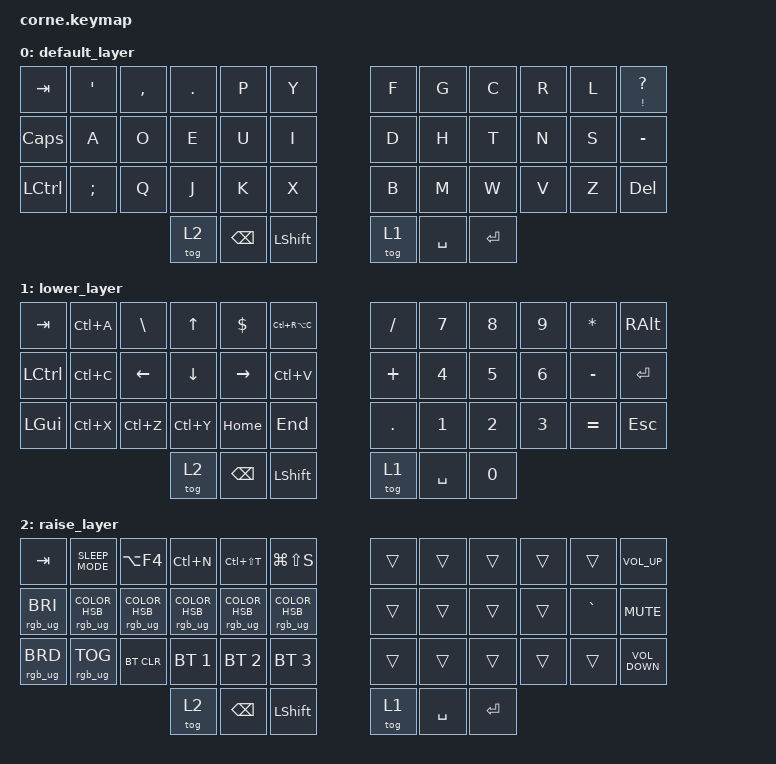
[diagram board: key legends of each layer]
/*
 * Copyright (c) 2020 The ZMK Contributors
 *
 * SPDX-License-Identifier: MIT
 */

#include <behaviors.dtsi>
#include <dt-bindings/zmk/bt.h>
#include <dt-bindings/zmk/keys.h>
#include <dt-bindings/zmk/rgb.h>

&led_strip { chain-length = <27>; };

/ {
    keymap {
        compatible = "zmk,keymap";

        default_layer {
            // -----------------------------------------------------------------------------------------
            // |  TAB |  Q  |  W  |  E  |  R  |  T  |   |  Y  |  U   |  I  |  O  |  P  | BKSP |
            // | CTRL |  A  |  S  |  D  |  F  |  G  |   |  H  |  J   |  K  |  L  |  ;  |  '   |
            // | SHFT |  Z  |  X  |  C  |  V  |  B  |   |  N  |  M   |  ,  |  .  |  /  | ESC  |
            //                    | GUI | LWR | SPC |   | ENT | RSE  | ALT |

            bindings = <
&kp TAB       &kp SQT   &kp COMMA  &kp DOT  &kp P     &kp Y             &kp F   &kp G      &kp C    &kp R  &kp L  &mt EXCLAMATION QUESTION
&kp CAPSLOCK  &kp A     &kp O      &kp E    &kp U     &kp I             &kp D   &kp H      &kp T    &kp N  &kp S  &kp MINUS
&kp LCTRL     &kp SEMI  &kp Q      &kp J    &kp K     &kp X             &kp B   &kp M      &kp W    &kp V  &kp Z  &kp DELETE
                                   &tog 2   &kp BSPC  &kp LEFT_SHIFT    &tog 1  &kp SPACE  &kp RET
            >;
        };

        lower_layer {
            // -----------------------------------------------------------------------------------------
            // |  TAB |  1  |  2  |  3  |  4  |  5  |   |  6  |  7  |  8  |  9  |  0  | BKSP |
            // | BTCLR| BT1 | BT2 | BT3 | BT4 | BT5 |   | LFT | DWN |  UP | RGT |     |      |
            // | SHFT |     |     |     |     |     |   |     |     |     |     |     |RGBTOG|
            //                    | GUI |     | SPC |   | ENT |     | ALT |

            bindings = <
&kp TAB    &kp LC(A)  &kp BACKSLASH  &kp UP     &kp DOLLAR  &kp LC(RA(C))     &kp SLASH   &kp N7     &kp N8  &kp N9  &kp ASTERISK  &kp RALT
&kp LCTRL  &kp LC(C)  &kp LEFT       &kp DOWN   &kp RIGHT   &kp LC(V)         &kp PLUS    &kp N4     &kp N5  &kp N6  &kp MINUS     &kp RET
&kp LGUI   &kp LC(X)  &kp LC(Z)      &kp LC(Y)  &kp HOME    &kp END           &kp PERIOD  &kp N1     &kp N2  &kp N3  &kp EQUAL     &kp ESC
                                     &tog 2     &kp BSPC    &kp LEFT_SHIFT    &tog 1      &kp SPACE  &kp N0
            >;
        };

        raise_layer {
            // -----------------------------------------------------------------------------------------
            // |  TAB |  !  |  @  |  #  |  $  |  %  |   |  ^  |  &  |  *  |  (  |  )  | BKSP |
            // | CTRL |     |     |     |     |     |   |  -  |  =  |  [  |  ]  |  \  |  `   |
            // | SHFT |     |     |     |     |     |   |  _  |  +  |  {  |  }  | "|" |  ~   |
            //                    | GUI |     | SPC |   | ENT |     | ALT |

            bindings = <
&kp TAB          &kp C_SLEEP_MODE                 &kp LA(F4)                         &kp LC(N)                          &kp LC(LS(T))                      &kp LG(LS(S))                     &trans  &trans     &trans   &trans  &trans     &kp C_VOLUME_UP
&rgb_ug RGB_BRI  &rgb_ug RGB_COLOR_HSB(47,89,80)  &rgb_ug RGB_COLOR_HSB(278,100,61)  &rgb_ug RGB_COLOR_HSB(105,100,32)  &rgb_ug RGB_COLOR_HSB(180,100,69)  &rgb_ug RGB_COLOR_HSB(0,0,100)    &trans  &trans     &trans   &trans  &kp GRAVE  &kp C_MUTE
&rgb_ug RGB_BRD  &rgb_ug RGB_TOG                  &bt BT_CLR                         &bt BT_SEL 1                       &bt BT_SEL 2                       &bt BT_SEL 3                      &trans  &trans     &trans   &trans  &trans     &kp C_VOLUME_DOWN
                                                                                     &tog 2                             &kp BSPC                           &kp LEFT_SHIFT                    &tog 1  &kp SPACE  &kp RET
            >;
        };
    };
};
